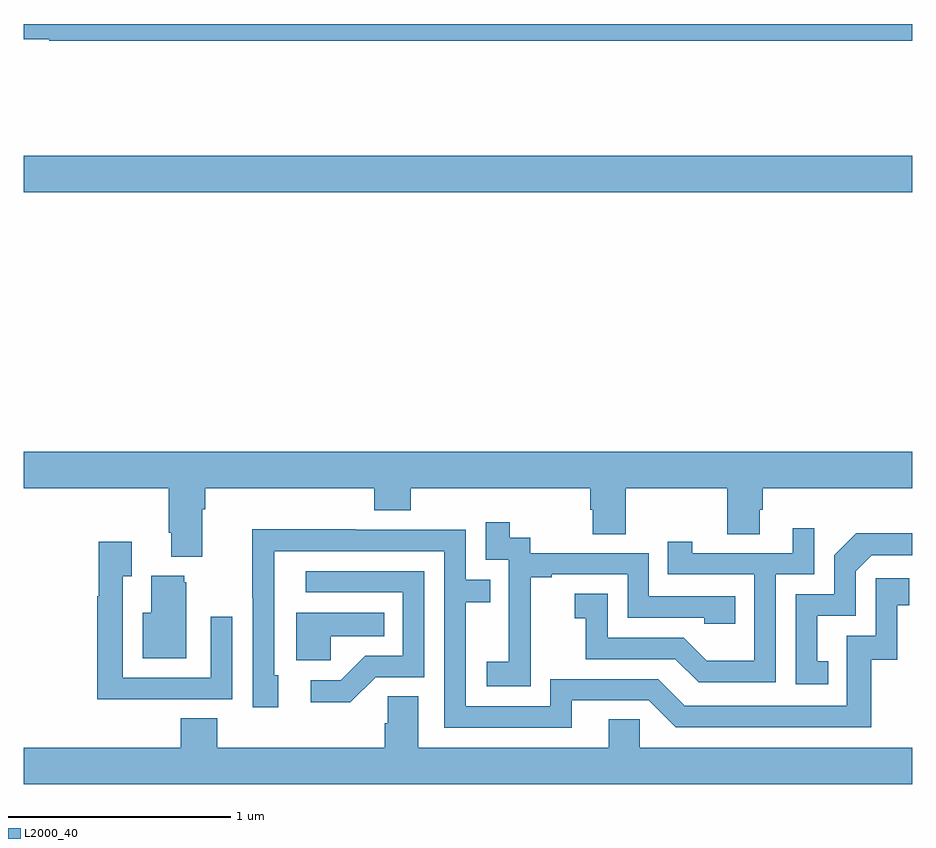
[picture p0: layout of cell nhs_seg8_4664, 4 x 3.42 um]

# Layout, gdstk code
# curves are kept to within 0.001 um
import gdstk
lib = gdstk.Library(unit=1e-6, precision=1e-09)
def R(c, l, rs):  # rectangles x0, y0, x1, y1
    for r in rs: c.add(gdstk.rectangle(r[:2], r[2:], *l))
def P(c, l, *ps):  # polygons
    for p in ps: c.add(gdstk.Polygon(p, *l))
L2000_40 = (2000, 40)

nhs_seg8_4664 = lib.new_cell('nhs_seg8_4664')
R(nhs_seg8_4664, L2000_40, [(393,1139.144,397,1139.308)])
P(nhs_seg8_4664, L2000_40, [(397,1139.9),(393,1139.9),(393,1139.832),(393.116,1139.832),(393.116,1139.824),(397,1139.824)],
  [(393.805,1137.716),(393.818,1137.716),(393.818,1137.812),(394.577,1137.812),(394.577,1137.713),(394.742,1137.713),(394.742,1137.812),(395.549,1137.812),(395.549,1137.714),(395.561,1137.714),(395.561,1137.604),(395.709,1137.604),(395.709,1137.812),(396.166,1137.812),(396.166,1137.604),(396.313,1137.604),(396.313,1137.714),(396.326,1137.714),(396.326,1137.812),(397,1137.812),(397,1137.976),(393,1137.976),(393,1137.812),(393.653,1137.812),(393.653,1137.61),(393.665,1137.61),(393.665,1137.503),(393.805,1137.503)],
  [(395.283,1137.127),(395.282,1137.127),(395.282,1137.411),(395.377,1137.411),(395.377,1137.423),(395.718,1137.423),(395.718,1137.228),(396.063,1137.228),(396.063,1137.201),(396.203,1137.201),(396.203,1137.324),(395.814,1137.324),(395.814,1137.519),(395.28,1137.519),(395.28,1137.588),(395.188,1137.588),(395.188,1137.658),(395.079,1137.658),(395.079,1137.489),(395.184,1137.489),(395.184,1137.26),(395.183,1137.26),(395.183,1137.031),(395.085,1137.031),(395.085,1136.921),(395.283,1136.921)],
  [(396.384,1137.423),(396.558,1137.423),(396.558,1137.631),(396.461,1137.631),(396.461,1137.519),(396.01,1137.519),(396.01,1137.571),(395.899,1137.571),(395.899,1137.423),(396.288,1137.423),(396.288,1137.034),(396.074,1137.034),(395.97,1137.138),(395.628,1137.138),(395.628,1137.337),(395.481,1137.337),(395.481,1137.227),(395.53,1137.227),(395.53,1137.042),(395.933,1137.042),(396.038,1136.937),(396.384,1136.937)],
  [(395.467,1136.856),(395.814,1136.856),(395.934,1136.736),(396.814,1136.736),(396.814,1137.039),(396.932,1137.039),(396.932,1137.285),(396.985,1137.285),(396.985,1137.406),(396.834,1137.406),(396.834,1137.147),(396.705,1137.147),(396.705,1136.832),(395.976,1136.832),(395.856,1136.952),(395.37,1136.952),(395.37,1136.829),(394.989,1136.829),(394.989,1137.298),(395.099,1137.298),(395.099,1137.399),(394.989,1137.399),(394.989,1137.624),(394.493,1137.624),(394.493,1137.626),(394.03,1137.626),(394.03,1137.319),(394.032,1137.319),(394.032,1136.826),(394.147,1136.826),(394.147,1136.97),(394.128,1136.97),(394.129,1137.528),(394.893,1137.528),(394.893,1136.733),(395.467,1136.733)],
  [(396.62,1137.033),(396.571,1137.033),(396.571,1137.237),(396.744,1137.237),(396.744,1137.438),(396.816,1137.51),(397,1137.51),(397,1137.608),(396.746,1137.608),(396.648,1137.51),(396.648,1137.333),(396.474,1137.333),(396.474,1136.928),(396.62,1136.928)],
  [(393.623,1136.862),(393.939,1136.862),(393.939,1137.232),(393.843,1137.232),(393.843,1136.958),(393.447,1136.958),(393.447,1137.415),(393.487,1137.415),(393.487,1137.571),(393.339,1137.571),(393.339,1137.326),(393.331,1137.326),(393.331,1136.861),(393.623,1136.861)],
  [(394.584,1136.961),(394.803,1136.961),(394.803,1137.438),(394.269,1137.438),(394.269,1137.342),(394.707,1137.342),(394.707,1137.057),(394.538,1137.057),(394.427,1136.946),(394.293,1136.946),(394.293,1136.849),(394.471,1136.849)],
  [(393.733,1137.387),(393.722,1137.387),(393.722,1137.418),(393.575,1137.418),(393.575,1137.25),(393.536,1137.25),(393.536,1137.047),(393.733,1137.047)],
  [(394.383,1137.146),(394.622,1137.146),(394.622,1137.25),(394.226,1137.25),(394.226,1137.038),(394.383,1137.038)],
  [(397,1136.644),(395.772,1136.644),(395.772,1136.771),(395.633,1136.771),(395.633,1136.644),(394.777,1136.644),(394.777,1136.876),(394.638,1136.876),(394.638,1136.753),(394.625,1136.753),(394.625,1136.644),(393.872,1136.644),(393.872,1136.777),(393.707,1136.777),(393.707,1136.644),(393,1136.644),(393,1136.48),(397,1136.48)])

lib.write_gds('nhs_seg8_4664.gds')
